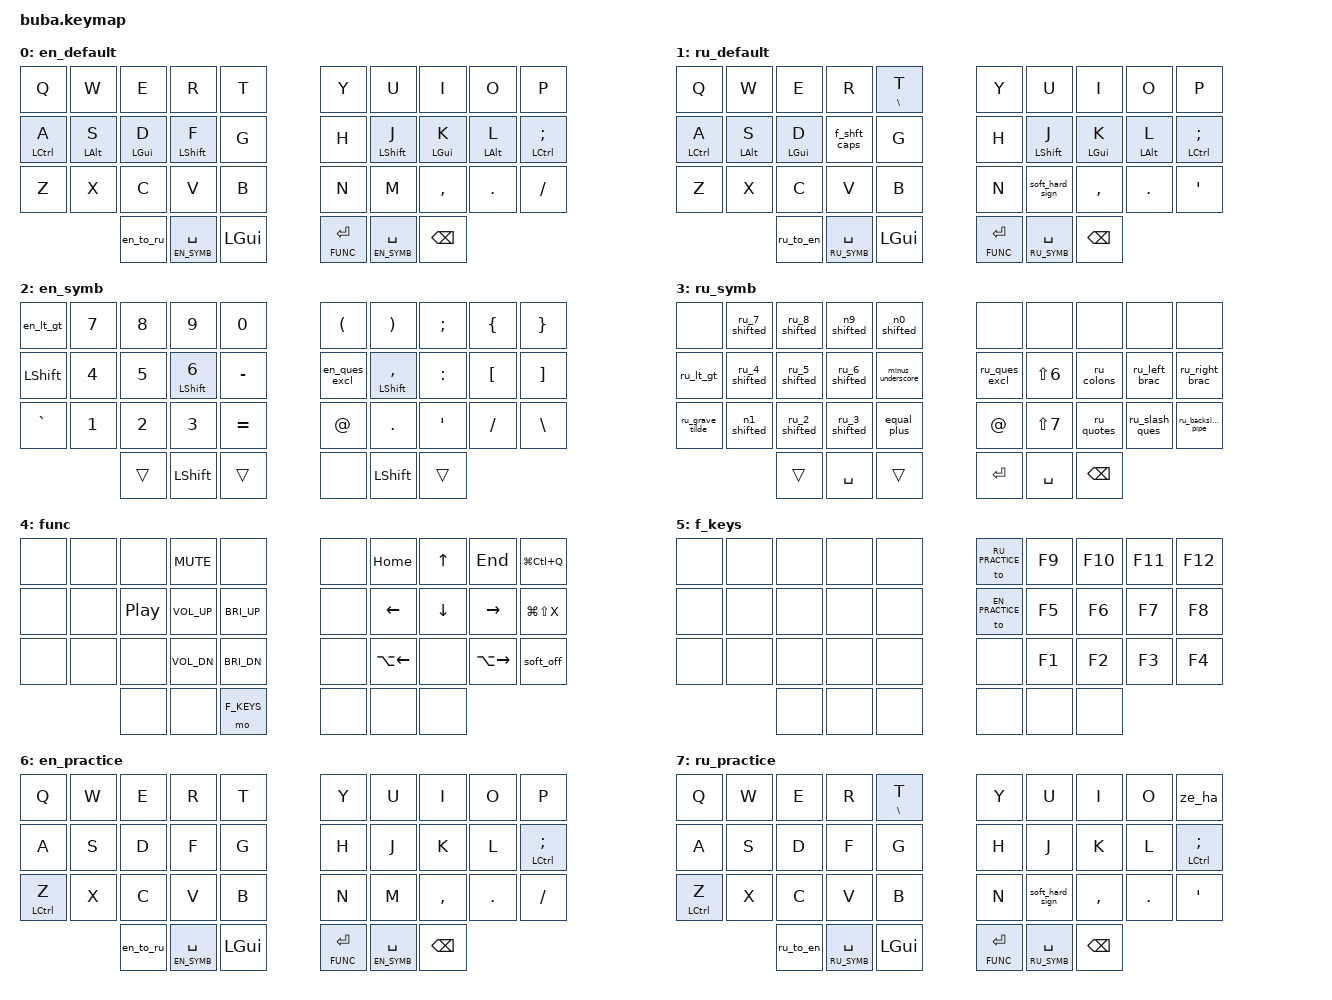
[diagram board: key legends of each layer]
#include <behaviors.dtsi>
#include <dt-bindings/zmk/keys.h>
#include <dt-bindings/zmk/bt.h>

#define EN_DEFAULT 0
#define RU_DEFAULT 1
#define EN_SYMB 2
#define RU_SYMB 3
#define FUNC 4
#define F_KEYS 5
#define EN_PRACTICE 6
#define RU_PRACTICE 7

// TODO:
// - CAPS WORD for RU layout
// - make shift work on symbols and func layers

/ {
    macros {
        en_to_ru_switch_kb_and_os: en_to_ru_switch_kb_and_os {
        compatible = "zmk,behavior-macro";
        #binding-cells = <0>;
        bindings
            = <&to RU_DEFAULT>
            , <&kp CAPSLOCK>
            ;
        };

        ru_to_en_switch_kb_and_os: ru_to_en_switch_kb_and_os {
        compatible = "zmk,behavior-macro";
        #binding-cells = <0>;
        bindings
            = <&to EN_DEFAULT>
            , <&kp CAPSLOCK>
            ;
        };

        double_f: double_f {
        compatible = "zmk,behavior-macro";
        #binding-cells = <0>;
        bindings
            = <&kp F>
            , <&kp F>
            ;
        };
    };


    combos {
        compatible = "zmk,combos";
        combo_esc {
            timeout-ms = <50>;
            layers = <0 1>;
            key-positions = <0 1>;
            bindings = <&kp ESC>;
        };

        combo_tab {
            timeout-ms = <50>;
            layers = <0 1>;
            key-positions = <10 11>;
            bindings = <&kp TAB>;
        };

        combo_enter {
            timeout-ms = <50>;
            layers = <0 1>;
            key-positions = <16 17 18>;
            bindings = <&kp ENTER>;
        };

        combo_ha {
            timeout-ms = <50>;
            layers = <1>;
            key-positions = <18 19>;
            bindings = <&kp LEFT_BRACKET>;
        };
    };

    
    behaviors {
        // ----- LANGUAGE SWITCH -----
        // tap - toggle layout on keyboard and OS
        // double tap - switch keyboard to EN layout
        // triple tap - switch keyboard to RU layout
        en_to_ru: en_to_ru {
            compatible = "zmk,behavior-tap-dance";
            #binding-cells = <0>;
            tapping-term-ms = <200>;
            bindings 
                = <&en_to_ru_switch_kb_and_os>
                , <&none>
                , <&to RU_DEFAULT>
                ;
        };

        ru_to_en: ru_to_en {
            compatible = "zmk,behavior-tap-dance";
            #binding-cells = <0>;
            tapping-term-ms = <200>;
            bindings
                = <&ru_to_en_switch_kb_and_os>
                , <&to EN_DEFAULT>
                , <&none>
                ;
        };

        // ----- HOME ROW MODIFIERS -----
        hml: home_row_modifier_left {
            compatible = "zmk,behavior-hold-tap";
            #binding-cells = <2>;
            flavor = "balanced";
            require-prior-idle-ms = <150>;
            tapping-term-ms = <300>;
            quick-tap-ms = <175>;
            bindings = <&kp>, <&kp>;
            hold-trigger-key-positions = <5 6 7 8 9 10 15 16 17 18 19 20 25 26 27 28 29 30>;
            hold-trigger-on-release;
        };
        hrm: home_row_modifier {
            compatible = "zmk,behavior-hold-tap";
            #binding-cells = <2>;
            flavor = "balanced";
            tapping-term-ms = <300>;
            quick-tap-ms = <0>;
            bindings = <&kp>, <&kp>;
        };
        
        hold_caps_word: hold_caps_word {
            compatible = "zmk,behavior-hold-tap";
            #binding-cells = <2>;
            flavor = "tap-preferred";
            tapping-term-ms = <200>;
            quick-tap-ms = <0>;
            bindings = <&caps_word>, <&double_f>;
        };

        f_shft_caps: F_hold_SHIFT_doubletap_CAPS_WORD {
            compatible = "zmk,behavior-tap-dance";
            #binding-cells = <0>;
            tapping-term-ms = <200>;
            bindings = <&hrm LSHFT F>, <&hold_caps_word 0 0>;
        };
        
        // ----- SPECIAL KEYS -----
        // q_esc: q_esc {
        //     compatible = "zmk,behavior-tap-dance";
        //     #binding-cells = <0>;
        //     tapping-term-ms = <200>;
        //     bindings = <&kp Q>, <&kp ESC>;
        // };
        // a_tab: a_tab {
        //     compatible = "zmk,behavior-tap-dance";
        //     #binding-cells = <0>;
        //     tapping-term-ms = <200>;
        //     bindings = <&kp A>, <&kp TAB>;
        // };

        // ----- RUSSIAN KEYS THAT DIDN'T FIT -----
        ze_ha: ze_ha {
            compatible = "zmk,behavior-tap-dance";
            #binding-cells = <0>;
            tapping-term-ms = <200>;
            bindings = <&kp P>, <&kp LEFT_BRACKET>;
        };
        soft_hard_sign: hard_sign {
            compatible = "zmk,behavior-tap-dance";
            #binding-cells = <0>;
            tapping-term-ms = <200>;
            bindings = <&kp M>, <&kp RIGHT_BRACKET>;
        };
        ht_let: hold_tap_letter {
            compatible = "zmk,behavior-hold-tap";
            #binding-cells = <2>;
            flavor = "tap-preferred";
            tapping-term-ms = <250>;
            quick-tap-ms = <0>;
            bindings = <&kp>, <&kp>;
        };

        // ----- SYMBOLS COMMON -----
        minus_underscore: minus_underscore {
            compatible = "zmk,behavior-tap-dance";
            #binding-cells = <0>;
            tapping-term-ms = <200>;
            bindings = <&kp MINUS>, <&kp UNDERSCORE>;
        };
        equal_plus: equal_plus {
            compatible = "zmk,behavior-tap-dance";
            #binding-cells = <0>;
            tapping-term-ms = <200>;
            bindings = <&kp EQUAL>, <&kp PLUS>;
        };
        n1_shifted: n1_shifted {
            compatible = "zmk,behavior-tap-dance";
            #binding-cells = <0>;
            tapping-term-ms = <200>;
            bindings = <&kp N1>, <&kp EXCLAMATION>;
        };
        n9_shifted: n9_shifted {
            compatible = "zmk,behavior-tap-dance";
            #binding-cells = <0>;
            tapping-term-ms = <200>;
            bindings = <&kp N9>, <&kp LEFT_PARENTHESIS>;
        };
        n0_shifted: n0_shifted {
            compatible = "zmk,behavior-tap-dance";
            #binding-cells = <0>;
            tapping-term-ms = <200>;
            bindings = <&kp N0>, <&kp RIGHT_PARENTHESIS>;
        };
        
        // ----- SYMBOLS ENGLISH -----
        en_ques_excl: en_question_exclamation {
            compatible = "zmk,behavior-tap-dance";
            #binding-cells = <0>;
            tapping-term-ms = <200>;
            bindings = <&kp QUESTION>, <&kp EXCL>;
        };
        en_quotes: en_quotes {
            compatible = "zmk,behavior-tap-dance";
            #binding-cells = <0>;
            tapping-term-ms = <200>;
            bindings = <&kp SINGLE_QUOTE>, <&kp DOUBLE_QUOTES>;
        };
        en_colons: en_colons {
            compatible = "zmk,behavior-tap-dance";
            #binding-cells = <0>;
            tapping-term-ms = <200>;
            bindings = <&kp COLON>, <&kp SEMICOLON>;
        };
        en_left_brac: en_left_bracet_left_brace {
            compatible = "zmk,behavior-tap-dance";
            #binding-cells = <0>;
            tapping-term-ms = <200>;
            bindings = <&kp LEFT_BRACKET>, <&kp LEFT_BRACE>;
        };
        en_right_brac: en_right_bracet_right_brace {
            compatible = "zmk,behavior-tap-dance";
            #binding-cells = <0>;
            tapping-term-ms = <200>;
            bindings = <&kp RIGHT_BRACKET>, <&kp RIGHT_BRACE>;
        };
        en_slash_ques: en_slash_ques {
            compatible = "zmk,behavior-tap-dance";
            #binding-cells = <0>;
            tapping-term-ms = <200>;
            bindings = <&kp SLASH>, <&kp QUESTION>;
        };
        en_backslash_pipe: en_backslash_pipe {
            compatible = "zmk,behavior-tap-dance";
            #binding-cells = <0>;
            tapping-term-ms = <200>;
            bindings = <&kp BACKSLASH>, <&kp PIPE>;
        };
        en_lt_gt: en_lt_gt {
            compatible = "zmk,behavior-tap-dance";
            #binding-cells = <0>;
            tapping-term-ms = <200>;
            bindings = <&kp LT>, <&kp GT>;
        };
        en_grave_tilde: en_grave_tilde {
            compatible = "zmk,behavior-tap-dance";
            #binding-cells = <0>;
            tapping-term-ms = <200>;
            bindings = <&kp GRAVE>, <&kp TILDE>;
        };
        en_2_shifted: en_2_shifted {
            compatible = "zmk,behavior-tap-dance";
            #binding-cells = <0>;
            tapping-term-ms = <200>;
            bindings = <&kp N2>, <&kp AT>;
        };
        en_3_shifted: en_3_shifted {
            compatible = "zmk,behavior-tap-dance";
            #binding-cells = <0>;
            tapping-term-ms = <200>;
            bindings = <&kp N3>, <&kp HASH>;
        };
        en_4_shifted: en_4_shifted {
            compatible = "zmk,behavior-tap-dance";
            #binding-cells = <0>;
            tapping-term-ms = <200>;
            bindings = <&kp N4>, <&kp DOLLAR>;
        };
        en_5_shifted: en_5_shifted {
            compatible = "zmk,behavior-tap-dance";
            #binding-cells = <0>;
            tapping-term-ms = <200>;
            bindings = <&kp N5>, <&kp PERCENT>;
        };
        en_6_shifted: en_6_shifted {
            compatible = "zmk,behavior-tap-dance";
            #binding-cells = <0>;
            tapping-term-ms = <200>;
            bindings = <&kp N6>, <&kp CARET>;
        };
        en_7_shifted: en_7_shifted {
            compatible = "zmk,behavior-tap-dance";
            #binding-cells = <0>;
            tapping-term-ms = <200>;
            bindings = <&kp N7>, <&kp AMPERSAND>;
        };
        en_8_shifted: en_8_shifted {
            compatible = "zmk,behavior-tap-dance";
            #binding-cells = <0>;
            tapping-term-ms = <200>;
            bindings = <&kp N8>, <&kp ASTERISK>;
        };

        // ----- SYMBOLS RUSSIAN -----
        ru_ques_excl: ru_question_exclamation {
            compatible = "zmk,behavior-tap-dance";
            #binding-cells = <0>;
            tapping-term-ms = <200>;
            bindings = <&kp LS(SLASH)>, <&kp LS(N1)>;
        };
        ru_quotes: ru_quotes {
            compatible = "zmk,behavior-tap-dance";
            #binding-cells = <0>;
            tapping-term-ms = <200>;
            bindings = <&kp LS(N2)>, <&kp LS(N2)>;  // TODO: implement single quote
        };
        ru_colons: ru_colons {
            compatible = "zmk,behavior-tap-dance";
            #binding-cells = <0>;
            tapping-term-ms = <200>;
            bindings = <&kp LS(N5)>, <&kp LS(N8)>;
        };
        ru_left_brac: ru_left_bracet_left_brace {
            compatible = "zmk,behavior-tap-dance";
            #binding-cells = <0>;
            tapping-term-ms = <200>;
            bindings = <&kp LS(GRAVE)>, <&kp LEFT_BRACE>;  // TODO: implement left brace
        };
        ru_right_brac: ru_right_bracet_right_brace {
            compatible = "zmk,behavior-tap-dance";
            #binding-cells = <0>;
            tapping-term-ms = <200>;
            bindings = <&kp GRAVE>, <&kp RIGHT_BRACE>;  // TODO: implement right brace
        };
        ru_slash_ques: ru_slash_ques {
            compatible = "zmk,behavior-tap-dance";
            #binding-cells = <0>;
            tapping-term-ms = <200>;
            bindings = <&kp SLASH>, <&kp LS(SLASH)>;
        };
        ru_backslash_pipe: ru_backslash_pipe {
            compatible = "zmk,behavior-tap-dance";
            #binding-cells = <0>;
            tapping-term-ms = <200>;
            bindings = <&kp BACKSLASH>, <&kp PIPE>;  // TODO: implement?
        };
        ru_lt_gt: ru_lt_gt {
            compatible = "zmk,behavior-tap-dance";
            #binding-cells = <0>;
            tapping-term-ms = <200>;
            bindings = <&kp LS(NUBS)>, <&kp NUBS>;
        };
        ru_grave_tilde: ru_grave_tilde {
            compatible = "zmk,behavior-tap-dance";
            #binding-cells = <0>;
            tapping-term-ms = <200>;
            bindings = <&kp GRAVE>, <&kp TILDE>;  // TODO: implement?
        };
        ru_2_shifted: ru_2_shifted {
            compatible = "zmk,behavior-tap-dance";
            #binding-cells = <0>;
            tapping-term-ms = <200>;
            bindings = <&kp N2>, <&kp AT>;  // TODO: implement AT
        };
        ru_3_shifted: ru_3_shifted {
            compatible = "zmk,behavior-tap-dance";
            #binding-cells = <0>;
            tapping-term-ms = <200>;
            bindings = <&kp N3>, <&kp HASH>;  // TODO: implement hash
        };
        ru_4_shifted: ru_4_shifted {
            compatible = "zmk,behavior-tap-dance";
            #binding-cells = <0>;
            tapping-term-ms = <200>;
            bindings = <&kp N4>, <&kp DOLLAR>;  // TODO: implement dollar
        };
        ru_5_shifted: ru_5_shifted {
            compatible = "zmk,behavior-tap-dance";
            #binding-cells = <0>;
            tapping-term-ms = <200>;
            bindings = <&kp N5>, <&kp LS(N4)>;
        };
        ru_6_shifted: ru_6_shifted {
            compatible = "zmk,behavior-tap-dance";
            #binding-cells = <0>;
            tapping-term-ms = <200>;
            bindings = <&kp N6>, <&kp CARET>;  // TODO: implement CARET
        };
        ru_7_shifted: ru_7_shifted {
            compatible = "zmk,behavior-tap-dance";
            #binding-cells = <0>;
            tapping-term-ms = <200>;
            bindings = <&kp N7>, <&kp AMPERSAND>;  // TODO: implement AMPERSAND
        };
        ru_8_shifted: ru_8_shifted {
            compatible = "zmk,behavior-tap-dance";
            #binding-cells = <0>;
            tapping-term-ms = <200>;
            bindings = <&kp N8>, <&kp ASTERISK>;  // TODO: implement ASTERISK
        };
    };

    
    keymap {
        compatible = "zmk,keymap";

            // → - hold tap
            // » - double tap
            // ➤ - shifted

            // Home row modifiers →
            // +------------------------------------------------------------------+
            // |  Q  |  W  |  E  |  R  |  T  |     |  Y  |  U  |  I  |  O  |  P  |
            // | CTR | ALT | CMD | SHF |  G  |     |  H  | SHF | CMD | ALT | CTR |
            // |  Z  |  X  |  C  |  V  |  B  |     |  N  |  M  |  ,  |  .  |  /  |
            // +------------------------------------------------------------------+
            // Combos
            // +------------------------------------------------------------------+
            // |  Q     W  |  E  |  R  |  T  |     |  Y  |  U  |  I  |  O  |  P  |
            // |--- Esc ---|
            // |  A     S  |  D  |  F  |  G  |     |  H  |  J  |  K  |  L  |  ;  |
            // |--- Tab ---|                             |----- Enter -----|
            //                   |-----|___ caps word ___|-----|     |-- Х[ru] --|
            // |  Z  |  X  |  C  |  V  |  B  |     |  N  |  M  |  ,  |  .  |  /  |
            // +------------------------------------------------------------------+
        
        en_default {
            // +------------------------------------------------------------------+
            // |  Q  |  W  |  E  |  R  |  T  |     |  Y  |  U  |  I  |  O  |  P  |
            // |  A  |  S  |  D  |  F  |  G  |     |  H  |  J  |  K  |  L  |  ;  |
            // |  Z  |  X  |  C  |  V  |  B  |     |  N  |  M  |  ,  |  .  |  /  |
            //
            //       | LANG | SPC→symb | CMD |     | ENT→func | SPC→symb | BSPC |
            // +------------------------------------------------------------------+
            bindings = <
                &kp Q         &kp W        &kp E        &kp R         &kp T               &kp Y  &kp U         &kp I        &kp O        &kp P   
                &hml LCTRL A  &hml LALT S  &hml LGUI D  &hml LSHFT F  &kp G               &kp H  &hrm LSHFT J  &hrm LGUI K  &hrm LALT L  &hrm LCTRL SEMI
                &kp Z         &kp X        &kp C        &kp V         &kp B               &kp N  &kp M         &kp COMMA    &kp DOT      &kp FSLH
                
                &en_to_ru   &lt EN_SYMB SPACE   &kp LGUI           &lt FUNC ENTER   &lt EN_SYMB SPACE   &kp BSPC
            >;
        };

        ru_default {
            // +-----------------------------------------------------------------+
            // |  Й  |  Ц  |  У  |  К  | Е→Ё |     |  Н  |  Г  |  Ш  |  Щ  |  З  |
            // |  Ф  |  Ы  |  В  |  А  |  П  |     |  Р  |  О  |  Л  |  Д  |  Ж  |
            // |  Я  |  Ч  |  С  |  М  |  И  |     |  Т  | Ь»Ъ |  Б  |  Ю  |  Э  |
            //
            //       | LANG | SPC→symb | CMD |     | ENT→func | SPC→symb | BSPC |
            // +-----------------------------------------------------------------+
            bindings = <
                &kp Q         &kp W        &kp E        &kp R         &ht_let BSLH T       &kp Y  &kp U            &kp I        &kp O        &kp P
                &hrm LCTRL A  &hrm LALT S  &hrm LGUI D  &f_shft_caps  &kp G                &kp H  &hrm LSHFT J     &hrm LGUI K  &hrm LALT L  &hrm LCTRL SEMI
                &kp Z         &kp X        &kp C        &kp V         &kp B                &kp N  &soft_hard_sign  &kp COMMA    &kp DOT      &kp SINGLE_QUOTE
                
                &ru_to_en   &lt RU_SYMB SPACE   &kp LGUI            &lt FUNC ENTER   &lt RU_SYMB SPACE   &kp BSPC
            >;
        };

        en_symb {
            // +-----------------------------------------------------------------+
            // | <»> | 7➤& | 8➤* | 9➤( | 0➤) |     |  (  |  )  |  ;  |  {  |  }  |
            // | SHF | 4➤$ | 5➤% | 6➤^ | -➤_ |     | ?»! |  ,  |  :  |  [  |  ]  |
            // | `➤~ | 1➤! | 2➤@ | 3➤# | =➤+ |     |  @  |  .  | '➤" |  /  | \➤| |
            //
            //     | LANG | SPC | ↓↓↓ |     | ENT | SPC | BSPC |
            // +-----------------------------------------------------------------+
            bindings = <
                &en_lt_gt         &kp N7   &kp N8   &kp N9   &kp N0            &kp LPAR        &kp RPAR    &kp SEMI     &kp LBRC         &kp RBRC   
                &kp LSHFT         &kp N4   &kp N5   &hml LSHFT N6   &kp MINUS         &en_ques_excl   &hrm LSHFT COMMA   &kp COLON    &kp LBKT         &kp RBKT
                &kp GRAVE         &kp N1   &kp N2   &kp N3   &kp EQUAL         &kp AT          &kp DOT     &kp APOS     &kp SLASH        &kp BACKSLASH
                
                &trans   &kp LSHFT   &trans       &none   &kp LSHFT   &trans
            >;
        };

        ru_symb {
            // SAME LAYOUT AS en_symb, BUT ADOPTED FOR RU OS LAYOUT
            // TODO: implement at
            bindings = <
                &none             &ru_7_shifted   &ru_8_shifted   &n9_shifted     &n0_shifted             &none           &none        &none        &none            &none
                &ru_lt_gt         &ru_4_shifted   &ru_5_shifted   &ru_6_shifted   &minus_underscore       &ru_ques_excl   &kp LS(N6)   &ru_colons   &ru_left_brac    &ru_right_brac
                &ru_grave_tilde   &n1_shifted     &ru_2_shifted   &ru_3_shifted   &equal_plus             &kp AT          &kp LS(N7)   &ru_quotes   &ru_slash_ques   &ru_backslash_pipe
                
                &trans   &kp SPACE   &trans       &kp ENTER   &kp SPACE   &kp BSPC
            >;
        };

        func {
            // +------------------------------------------------------------------------+
            // |     |     |    | MUTE |     |       |     | HOME|  ↑  | END |   LOCK   |
            // |     |     | PP | VOL↑ | BR↑ |       |     |  ←  |  ↓  |  →  |SCREENSHOT|
            // |     |     |    | VOL↓ | BR↓ |       |     | ←←  |     |  →→ | SOFT OFF |
            //
            //            |     |     |F_KEYS|       |     |     |     |
            // +------------------------------------------------------------------------+
            bindings = <
                &none   &none   &none             &kp C_MUTE     &none               &none   &kp HOME     &kp UP    &kp END         &kp LG(LC(Q))   
                &none   &none   &kp C_PLAY_PAUSE  &kp C_VOL_UP   &kp C_BRI_UP        &none   &kp LEFT     &kp DOWN  &kp RIGHT       &kp LG(LS(X))
                &none   &none   &none             &kp C_VOL_DN   &kp C_BRI_DN        &none   &kp LA(LEFT) &none     &kp LA(RIGHT)   &soft_off
                
                                                   &none   &none   &mo F_KEYS        &none   &none   &none
            >;
        };

        f_keys {
            bindings = <
                &none &none &none &none &none        &to RU_PRACTICE  &kp F9   &kp F10  &kp F11  &kp F12
                &none &none &none &none &none        &to EN_PRACTICE  &kp F5   &kp F6   &kp F7   &kp F8
                &none &none &none &none &none        &none            &kp F1   &kp F2   &kp F3   &kp F4
                
                            &none &none &none        &none &none &none
            >;
        };

        en_practice {
            // Same as en_default but without home row mods
            bindings = <
                &kp Q         &kp W        &kp E        &kp R         &kp T               &kp Y  &kp U         &kp I        &kp O        &kp P   
                &kp A         &kp S        &kp D        &kp F         &kp G               &kp H  &kp J         &kp K        &kp L        &hrm LCTRL SEMI
                &hrm LCTRL Z  &kp X        &kp C        &kp V         &kp B               &kp N  &kp M         &kp COMMA    &kp DOT      &kp FSLH
                
                &en_to_ru   &lt EN_SYMB SPACE   &kp LGUI           &lt FUNC ENTER   &lt EN_SYMB SPACE   &kp BSPC
            >;
        };

        ru_practice {
            // Same as ru_default but without home row mods
            bindings = <
                &kp Q         &kp W        &kp E        &kp R         &ht_let BSLH T       &kp Y  &kp U            &kp I        &kp O        &ze_ha
                &kp A         &kp S        &kp D        &kp F         &kp G                &kp H  &kp J            &kp K        &kp L        &hrm LCTRL SEMI
                &hrm LCTRL Z  &kp X        &kp C        &kp V         &kp B                &kp N  &soft_hard_sign  &kp COMMA    &kp DOT      &kp SINGLE_QUOTE
                
                &ru_to_en   &lt RU_SYMB SPACE   &kp LGUI            &lt FUNC ENTER   &lt RU_SYMB SPACE   &kp BSPC
            >;
        };
    };
};
